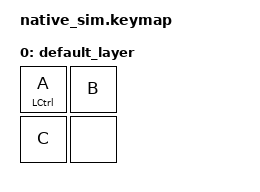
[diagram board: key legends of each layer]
#include <dt-bindings/zmk/keys.h>
#include <behaviors.dtsi>
#include <dt-bindings/zmk/kscan_mock.h>

&mt {
    flavor = "hold-preferred";
};

/*
This test fails if the order of event handlers for hold-taps
and combos is wrong. Hold-taps need to process key position events
first so the decision to hold or tap can be made.
*/
/ {
    combos {
        compatible = "zmk,combos";

        combo_two {
            timeout-ms = <100>;
            key-positions = <1 2>;
            bindings = <&kp Y>;
        };
    };

    keymap {
        compatible = "zmk,keymap";

        default_layer {
            bindings = <
                &mt LEFT_CONTROL A &kp B
                &kp C &none
            >;
        };
    };
};

&kscan {
    events = <
        ZMK_MOCK_PRESS(0,0,10)
        ZMK_MOCK_PRESS(0,1,10)
        ZMK_MOCK_PRESS(0,2,10)
        ZMK_MOCK_RELEASE(0,0,10)
        ZMK_MOCK_RELEASE(0,1,10)
        ZMK_MOCK_RELEASE(0,2,10)
    >;
};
